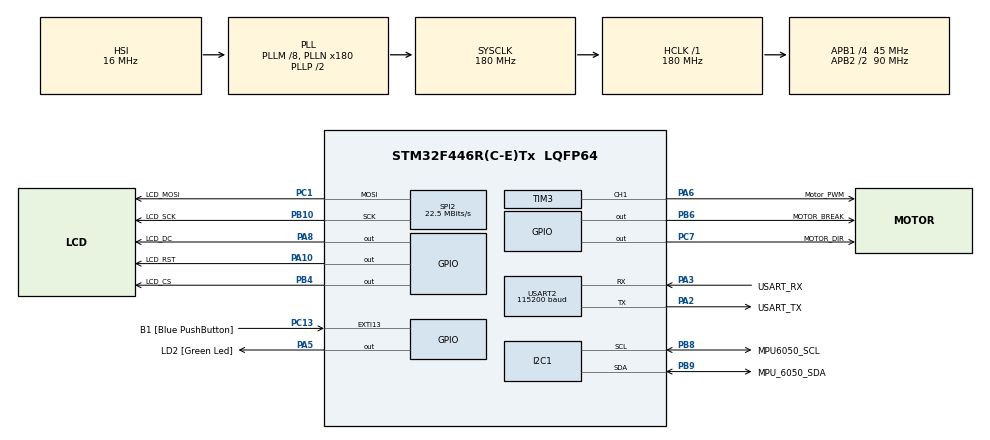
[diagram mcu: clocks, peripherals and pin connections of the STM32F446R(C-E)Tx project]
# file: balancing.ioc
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Dma.Request0=SPI2_TX
Dma.SPI2_TX.0.Direction=DMA_MEMORY_TO_PERIPH
Dma.SPI2_TX.0.FIFOMode=DMA_FIFOMODE_DISABLE
Dma.SPI2_TX.0.Instance=DMA1_Stream4
Dma.SPI2_TX.0.MemDataAlignment=DMA_MDATAALIGN_BYTE
Dma.SPI2_TX.0.MemInc=DMA_MINC_ENABLE
Dma.SPI2_TX.0.Mode=DMA_NORMAL
Dma.SPI2_TX.0.PeriphDataAlignment=DMA_PDATAALIGN_BYTE
Dma.SPI2_TX.0.PeriphInc=DMA_PINC_DISABLE
Dma.SPI2_TX.0.Priority=DMA_PRIORITY_LOW
FREERTOS.HEAP_NUMBER=5
FREERTOS.Tasks01=Mpu6050Task,40,128,startMpu6050Task,Default,NULL,Dynamic,NULL,NULL;LcdTask,8,128,startLcdTask,Default,NULL,Dynamic,NULL,NULL
FREERTOS.configUSE_NEWLIB_REENTRANT=1
Mcu.Family=STM32F4
Mcu.Name=STM32F446R(C-E)Tx
Mcu.Package=LQFP64
NVIC.DMA1_Stream4_IRQn=true\:5\:0\:false\:false\:true\:true\:false\:true\:true
NVIC.PriorityGroup=NVIC_PRIORITYGROUP_4
NVIC.SPI2_IRQn=true\:5\:0\:false\:false\:true\:true\:true\:true\:true
NVIC.TIM4_IRQn=true\:15\:0\:false\:false\:true\:false\:false\:true\:true
NVIC.TimeBase=TIM4_IRQn
NVIC.TimeBaseIP=TIM4
PA10.GPIO_Label=LCD_RST
PA10.GPIO_PuPd=GPIO_PULLDOWN
PA10.Signal=GPIO_Output
PA13.GPIO_Label=TMS
PA13.Mode=Trace_Asynchronous_SW
PA13.Signal=SYS_JTMS-SWDIO
PA14.GPIO_Label=TCK
PA14.Mode=Trace_Asynchronous_SW
PA14.Signal=SYS_JTCK-SWCLK
PA2.GPIO_Label=USART_TX
PA2.Mode=Asynchronous
PA2.Signal=USART2_TX
PA3.GPIO_Label=USART_RX
PA3.Mode=Asynchronous
PA3.Signal=USART2_RX
PA5.GPIO_Label=LD2 [Green Led]
PA5.Signal=GPIO_Output
PA6.GPIO_Label=Motor_PWM
PA6.Signal=S_TIM3_CH1
PA8.GPIO_Label=LCD_DC
PA8.GPIO_PuPd=GPIO_PULLDOWN
PA8.Signal=GPIO_Output
PB10.GPIO_Label=LCD_SCK
PB10.Mode=TX_Only_Simplex_Unidirect_Master
PB10.Signal=SPI2_SCK
PB3.GPIO_Label=SWO
PB3.Mode=Trace_Asynchronous_SW
PB3.Signal=SYS_JTDO-SWO
PB4.GPIO_Label=LCD_CS
PB4.GPIO_PuPd=GPIO_PULLDOWN
PB4.Signal=GPIO_Output
PB6.GPIO_Label=MOTOR_BREAK
PB6.GPIO_PuPd=GPIO_PULLDOWN
PB6.Signal=GPIO_Output
PB8.GPIO_Label=MPU6050_SCL
PB8.GPIO_Pu=GPIO_PULLUP
PB8.Mode=I2C
PB8.Signal=I2C1_SCL
PB9.GPIO_Label=MPU_6050_SDA
PB9.GPIO_Pu=GPIO_PULLUP
PB9.Mode=I2C
PB9.Signal=I2C1_SDA
PC1.GPIO_Label=LCD_MOSI
PC1.Mode=TX_Only_Simplex_Unidirect_Master
PC1.Signal=SPI2_MOSI
PC13.GPIO_Label=B1 [Blue PushButton]
PC13.GPIO_ModeDefaultEXTI=GPIO_MODE_IT_FALLING
PC13.GPIO_PuPd=GPIO_NOPULL
PC13.Signal=GPXTI13
PC14-OSC32_IN.Signal=RCC_OSC32_IN
PC15-OSC32_OUT.Signal=RCC_OSC32_OUT
PC7.GPIO_Label=MOTOR_DIR
PC7.GPIO_PuPd=GPIO_PULLDOWN
PC7.Signal=GPIO_Output
PH0-OSC_IN.Mode=HSE-External-Oscillator
PH0-OSC_IN.Signal=RCC_OSC_IN
PH1-OSC_OUT.Mode=HSE-External-Oscillator
PH1-OSC_OUT.Signal=RCC_OSC_OUT
ProjectManager.HeapSize=0x200
ProjectManager.StackSize=0x400
ProjectManager.TargetToolchain=STM32CubeIDE
RCC.48MHZClocksFreq_Value=84000000
RCC.AHBFreq_Value=180000000
RCC.APB1CLKDivider=RCC_HCLK_DIV4
RCC.APB1Freq_Value=45000000
RCC.APB1TimFreq_Value=90000000
RCC.APB2CLKDivider=RCC_HCLK_DIV2
RCC.APB2Freq_Value=90000000
RCC.APB2TimFreq_Value=180000000
RCC.CortexFreq_Value=180000000
RCC.FLatency-AdvancedSettings=FLASH_LATENCY_5
RCC.HCLKFreq_Value=180000000
RCC.HSE_VALUE=8000000
RCC.HSI_VALUE=16000000
RCC.PLLM=8
RCC.PLLN=180
RCC.SYSCLKFreq_VALUE=180000000
RCC.SYSCLKSource=RCC_SYSCLKSOURCE_PLLCLK
RCC.USBFreq_Value=180000000
RCC.VCOOutputFreq_Value=360000000
SH.S_TIM3_CH1.0=TIM3_CH1,PWM Generation1 CH1
SPI2.BaudRatePrescaler=SPI_BAUDRATEPRESCALER_2
SPI2.CalculateBaudRate=22.5 MBits/s
SPI2.Direction=SPI_DIRECTION_2LINES
SPI2.Mode=SPI_MODE_MASTER
SPI2.VirtualType=VM_MASTER
TIM3.Channel-PWM\ Generation1\ CH1=TIM_CHANNEL_1
TIM3.Period=1000-1
TIM3.Prescaler=90-1
USART2.BaudRate=115200
USART2.VirtualMode=VM_ASYNC
VP_FREERTOS_VS_CMSIS_V2.Mode=CMSIS_V2
VP_SYS_VS_tim4.Mode=TIM4
board=NUCLEO-F446RE

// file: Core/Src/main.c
/* USER CODE BEGIN Header */
/**
  ******************************************************************************
  * @file           : main.c
  * @brief          : Main program body
  ******************************************************************************
  * @attention
  *
  * Copyright (c) 2025 STMicroelectronics.
  * All rights reserved.
  *
  * This software is licensed under terms that can be found in the LICENSE file
  * in the root directory of this software component.
  * If no LICENSE file comes with this software, it is provided AS-IS.
  *
  ******************************************************************************
  */
/* USER CODE END Header */
#include "main.h"
#include "cmsis_os.h"
#include "dma.h"
#include "i2c.h"
#include "spi.h"
#include "tim.h"
#include "usart.h"
#include "gpio.h"

void SystemClock_Config(void);
void MX_FREERTOS_Init(void);
/* USER CODE BEGIN PFP */
int _write(int file, uint8_t* p, int len){
	if(HAL_UART_Transmit(&huart2, p, len, len) == HAL_OK )
	{
		return len;
	}
	return 0;
}
/* USER CODE END PFP */

int main(void)
{

  /* MCU Configuration--------------------------------------------------------*/

  /* Reset of all peripherals, Initializes the Flash interface and the Systick. */
  HAL_Init();

  /* Configure the system clock */
  SystemClock_Config();

  /* Initialize all configured peripherals */
  MX_GPIO_Init();
  MX_DMA_Init();
  MX_USART2_UART_Init();
  MX_I2C1_Init();
  MX_SPI2_Init();
  MX_TIM3_Init();

  /* Init scheduler */
  osKernelInitialize();

  /* Call init function for freertos objects (in cmsis_os2.c) */
  MX_FREERTOS_Init();

  /* Start scheduler */
  osKernelStart();

  /* We should never get here as control is now taken by the scheduler */

  /* Infinite loop */
  while (1)
  {

  }
}

void SystemClock_Config(void)
{
  RCC_OscInitTypeDef RCC_OscInitStruct = {0};
  RCC_ClkInitTypeDef RCC_ClkInitStruct = {0};

  /** Configure the main internal regulator output voltage
  */
  __HAL_RCC_PWR_CLK_ENABLE();
  __HAL_PWR_VOLTAGESCALING_CONFIG(PWR_REGULATOR_VOLTAGE_SCALE1);

  /** Initializes the RCC Oscillators according to the specified parameters
  * in the RCC_OscInitTypeDef structure.
  */
  RCC_OscInitStruct.OscillatorType = RCC_OSCILLATORTYPE_HSI;
  RCC_OscInitStruct.HSIState = RCC_HSI_ON;
  RCC_OscInitStruct.HSICalibrationValue = RCC_HSICALIBRATION_DEFAULT;
  RCC_OscInitStruct.PLL.PLLState = RCC_PLL_ON;
  RCC_OscInitStruct.PLL.PLLSource = RCC_PLLSOURCE_HSI;
  RCC_OscInitStruct.PLL.PLLM = 8;
  RCC_OscInitStruct.PLL.PLLN = 180;
  RCC_OscInitStruct.PLL.PLLP = RCC_PLLP_DIV2;
  RCC_OscInitStruct.PLL.PLLQ = 2;
  RCC_OscInitStruct.PLL.PLLR = 2;
  if (HAL_RCC_OscConfig(&RCC_OscInitStruct) != HAL_OK)
  {
    Error_Handler();
  }

  /** Activate the Over-Drive mode
  */
  if (HAL_PWREx_EnableOverDrive() != HAL_OK)
  {
    Error_Handler();
  }

  /** Initializes the CPU, AHB and APB buses clocks
  */
  RCC_ClkInitStruct.ClockType = RCC_CLOCKTYPE_HCLK|RCC_CLOCKTYPE_SYSCLK
                              |RCC_CLOCKTYPE_PCLK1|RCC_CLOCKTYPE_PCLK2;
  RCC_ClkInitStruct.SYSCLKSource = RCC_SYSCLKSOURCE_PLLCLK;
  RCC_ClkInitStruct.AHBCLKDivider = RCC_SYSCLK_DIV1;
  RCC_ClkInitStruct.APB1CLKDivider = RCC_HCLK_DIV4;
  RCC_ClkInitStruct.APB2CLKDivider = RCC_HCLK_DIV2;

  if (HAL_RCC_ClockConfig(&RCC_ClkInitStruct, FLASH_LATENCY_5) != HAL_OK)
  {
    Error_Handler();
  }
}

void HAL_TIM_PeriodElapsedCallback(TIM_HandleTypeDef *htim)
{
  if (htim->Instance == TIM4)
  {
    HAL_IncTick();
  }
}

void Error_Handler(void)
{
  __disable_irq();
  while (1)
  {
  }
}

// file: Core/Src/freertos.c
/* USER CODE BEGIN Header */
/**
  ******************************************************************************
  * File Name          : freertos.c
  * Description        : Code for freertos applications
  ******************************************************************************
  * @attention
  *
  * Copyright (c) 2025 STMicroelectronics.
  * All rights reserved.
  *
  * This software is licensed under terms that can be found in the LICENSE file
  * in the root directory of this software component.
  * If no LICENSE file comes with this software, it is provided AS-IS.
  *
  ******************************************************************************
  */
/* USER CODE END Header */

#include "FreeRTOS.h"
#include "task.h"
#include "main.h"
#include "cmsis_os.h"

/* USER CODE BEGIN Includes */
#include "mpu6050.h"
#include "gc9a01a.h"
#include "stdlib.h"
#include "stdio.h"
#include "font.h"
#include "pid.h"
#include "usart.h"
/* USER CODE END Includes */

/* USER CODE BEGIN Variables */
int test_num = 0;
mpu6050 my_mpu6050;

/* USER CODE END Variables */
/* Definitions for Mpu6050Task */
osThreadId_t Mpu6050TaskHandle;
const osThreadAttr_t Mpu6050Task_attributes = {
  .name = "Mpu6050Task",
  .stack_size = 128 * 4,
  .priority = (osPriority_t) osPriorityHigh,
};
/* Definitions for LcdTask */
osThreadId_t LcdTaskHandle;
const osThreadAttr_t LcdTask_attributes = {
  .name = "LcdTask",
  .stack_size = 128 * 4,
  .priority = (osPriority_t) osPriorityLow,
};

void startMpu6050Task(void *argument);
void startLcdTask(void *argument);

void MX_FREERTOS_Init(void); /* (MISRA C 2004 rule 8.1) */

void MX_FREERTOS_Init(void) {

  /* Create the thread(s) */
  /* creation of Mpu6050Task */
  Mpu6050TaskHandle = osThreadNew(startMpu6050Task, NULL, &Mpu6050Task_attributes);

  /* creation of LcdTask */
  LcdTaskHandle = osThreadNew(startLcdTask, NULL, &LcdTask_attributes);

}

void startMpu6050Task(void *argument)
{
  /* USER CODE BEGIN startMpu6050Task */
	WHO_AM_I(&hi2c1);
	wake_up(&hi2c1);
	set_dlpf(&hi2c1);
	set_sample_rate(&hi2c1, 1000);
	set_sensitivity(&hi2c1, &my_mpu6050, gyro_full_scale_range_2000, accel_full_scale_range_16g);
	HAL_TIM_PWM_Start(&htim3, TIM_CHANNEL_1);
	HAL_GPIO_WritePin(MOTOR_BREAK_GPIO_Port, MOTOR_BREAK_Pin, GPIO_PIN_SET);
	float targetAngle = 41.0; // 목표 각도
	float ANGLE_FIXRATE = 1.5; // [deg/s]
	float measuredAngle = 0.0; // 측정 각도
	set_pwm_duty_cycle(0);
	int8_t check_start = 0;
  /* Infinite loop */
  for(;;)
  {
	  read_gyro(&hi2c1, &my_mpu6050, deg_per_sec);
	  read_accel(&hi2c1, &my_mpu6050, gravity_acceleration);
	  cal_Roll_Pitch(&my_mpu6050);
	  measuredAngle = my_mpu6050.pitch;
	  if((int)measuredAngle == (int)targetAngle) check_start = 1; // 목표 각도로 옮겼을 때 부터 시작하기 위해

	  if(check_start != 0){
		  if(measuredAngle < targetAngle){ // 목표값을 시간과 측정값에 따라 변화
			  targetAngle += ANGLE_FIXRATE * 0.011;
		  }else{
			  targetAngle -= ANGLE_FIXRATE * 0.011;
		  }
		  motor_control(&my_mpu6050, pid_control(targetAngle,measuredAngle));
	  }
	  osDelay(10);
  }
  /* USER CODE END startMpu6050Task */
}

void startLcdTask(void *argument)
{
  /* USER CODE BEGIN startLcdTask */
	osDelay(100);

	GC9A01_Initial();
	int roll_before = (int)my_mpu6050.roll;
	int roll_after = 0;
	int pitch_before = (int)my_mpu6050.pitch;
	int pitch_after = 0;
	ClearScreen2(WHITE);
	char buffer[5];

	/* roll pitch 초기 0 LCD 출력 */
	Gc9a01a_WriteString(40, 50, "roll:", Font_11x18, BLACK, WHITE);
	Gc9a01a_WriteString(40, 68, "pitch:", Font_11x18, BLACK, WHITE);
	Gc9a01a_WriteString(95,50,"0",Font_11x18, BLACK, WHITE);
	Gc9a01a_WriteString(106,68,"0",Font_11x18, BLACK, WHITE);

  /* Infinite loop */
  for(;;)
  {
	  /* roll or pitch 값 변화 시 LCD에 표기 */
	  roll_after = (int)my_mpu6050.roll;
	  pitch_after = (int)my_mpu6050.pitch;

	  if(roll_after != roll_before){
		  sprintf(buffer, "%d", roll_after);
		  for(int i = 0; i < 4; i++){
			  if(buffer[i] == '\0' || buffer[i] == 165){
				  buffer[i] = ' ';
			  }
		  }
		  buffer[4] = '\0';
		  Gc9a01a_WriteString(95,50,buffer,Font_11x18, BLACK, WHITE);
		  roll_before = roll_after;
	  }
	  if(pitch_after != pitch_before){
		  sprintf(buffer, "%d", pitch_after);
		  for(int i = 0; i < 4; i++){
			  if(buffer[i] == '\0' || buffer[i] == 165){
				  buffer[i] = ' ';
			  }
		  }
		  buffer[4] = '\0';
		  Gc9a01a_WriteString(106,68,buffer,Font_11x18, BLACK, WHITE);
		  pitch_before = pitch_after;
	  }

	  /* ------------------------------------ */

	  osDelay(30);
  }
  /* USER CODE END startLcdTask */
}
